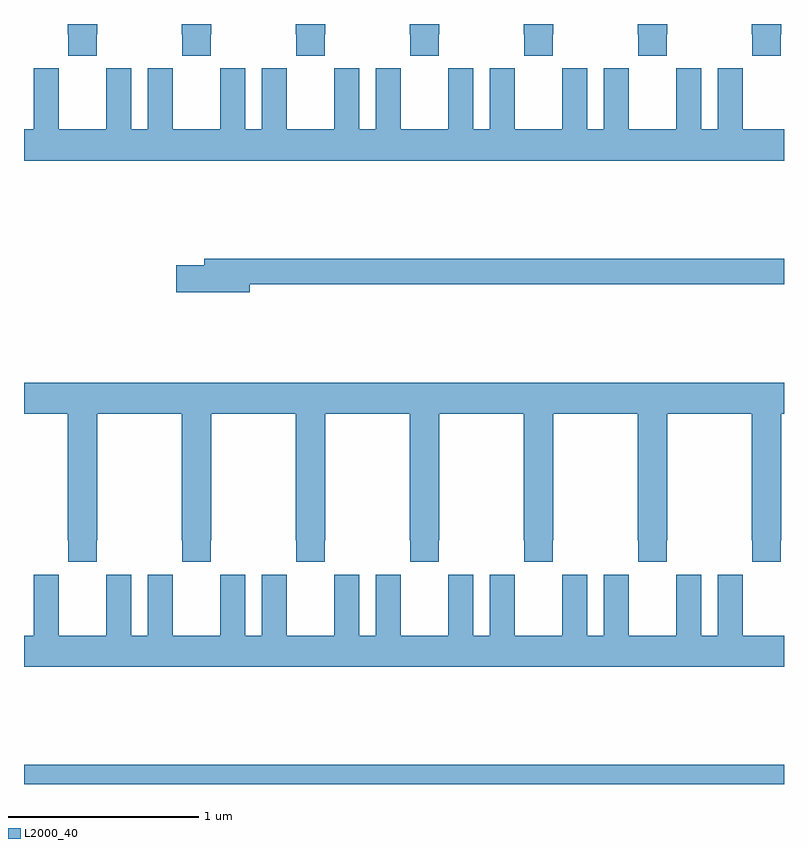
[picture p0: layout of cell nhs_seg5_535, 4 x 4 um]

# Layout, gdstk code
import gdstk
lib = gdstk.Library(unit=1e-6, precision=1e-09)
def R(c, l, rs):  # rectangles x0, y0, x1, y1
    for r in rs: c.add(gdstk.rectangle(r[:2], r[2:], *l))
def P(c, l, *ps):  # polygons
    for p in ps: c.add(gdstk.Polygon(p, *l))
L2000_40 = (2000, 40)

nhs_seg5_535 = lib.new_cell('nhs_seg5_535')
R(nhs_seg5_535, L2000_40, [(145,866.799,149,866.9)])
P(nhs_seg5_535, L2000_40, [(148.383,870.745),(148.386,870.745),(148.386,870.799),(148.231,870.799),(148.231,870.745),(148.233,870.745),(148.233,870.633),(148.383,870.633)],
  [(148.983,870.745),(148.986,870.745),(148.986,870.799),(148.831,870.799),(148.831,870.745),(148.833,870.745),(148.833,870.633),(148.983,870.633)],
  [(145.383,870.745),(145.386,870.745),(145.386,870.799),(145.231,870.799),(145.231,870.745),(145.233,870.745),(145.233,870.633),(145.383,870.633)],
  [(145.983,870.745),(145.986,870.745),(145.986,870.799),(145.831,870.799),(145.831,870.745),(145.833,870.745),(145.833,870.633),(145.983,870.633)],
  [(146.583,870.745),(146.586,870.745),(146.586,870.799),(146.431,870.799),(146.431,870.745),(146.433,870.745),(146.433,870.633),(146.583,870.633)],
  [(147.183,870.745),(147.186,870.745),(147.186,870.799),(147.031,870.799),(147.031,870.745),(147.033,870.745),(147.033,870.633),(147.183,870.633)],
  [(147.783,870.745),(147.786,870.745),(147.786,870.799),(147.631,870.799),(147.631,870.745),(147.633,870.745),(147.633,870.633),(147.783,870.633)],
  [(149,870.244),(148.783,870.244),(148.783,870.452),(148.782,870.452),(148.782,870.565),(148.652,870.565),(148.652,870.244),(148.564,870.244),(148.564,870.565),(148.434,870.565),(148.434,870.452),(148.433,870.452),(148.433,870.244),(148.183,870.244),(148.183,870.452),(148.182,870.452),(148.182,870.565),(148.052,870.565),(148.052,870.244),(147.964,870.244),(147.964,870.565),(147.834,870.565),(147.834,870.452),(147.833,870.452),(147.833,870.244),(147.583,870.244),(147.583,870.452),(147.582,870.452),(147.582,870.565),(147.452,870.565),(147.452,870.244),(147.364,870.244),(147.364,870.565),(147.234,870.565),(147.234,870.452),(147.233,870.452),(147.233,870.244),(146.983,870.244),(146.983,870.452),(146.982,870.452),(146.982,870.565),(146.852,870.565),(146.852,870.244),(146.764,870.244),(146.764,870.565),(146.634,870.565),(146.634,870.452),(146.633,870.452),(146.633,870.244),(146.383,870.244),(146.383,870.452),(146.382,870.452),(146.382,870.565),(146.252,870.565),(146.252,870.244),(146.164,870.244),(146.164,870.565),(146.034,870.565),(146.034,870.452),(146.033,870.452),(146.033,870.244),(145.783,870.244),(145.783,870.452),(145.782,870.452),(145.782,870.565),(145.652,870.565),(145.652,870.244),(145.564,870.244),(145.564,870.565),(145.434,870.565),(145.434,870.452),(145.433,870.452),(145.433,870.244),(145.183,870.244),(145.183,870.452),(145.182,870.452),(145.182,870.565),(145.052,870.565),(145.052,870.244),(145,870.244),(145,870.08),(149,870.08)],
  [(146.188,869.428),(149,869.428),(149,869.564),(145.949,869.564),(145.949,869.528),(145.8,869.528),(145.8,869.386),(146.188,869.386)],
  [(145.383,868.081),(145.386,868.081),(145.386,868.748),(145.831,868.748),(145.831,868.081),(145.833,868.081),(145.833,867.969),(145.983,867.969),(145.983,868.081),(145.986,868.081),(145.986,868.748),(146.431,868.748),(146.431,868.081),(146.433,868.081),(146.433,867.969),(146.583,867.969),(146.583,868.081),(146.586,868.081),(146.586,868.748),(147.031,868.748),(147.031,868.081),(147.033,868.081),(147.033,867.969),(147.183,867.969),(147.183,868.081),(147.186,868.081),(147.186,868.748),(147.631,868.748),(147.631,868.081),(147.633,868.081),(147.633,867.969),(147.783,867.969),(147.783,868.081),(147.786,868.081),(147.786,868.748),(148.231,868.748),(148.231,868.081),(148.233,868.081),(148.233,867.969),(148.383,867.969),(148.383,868.081),(148.386,868.081),(148.386,868.748),(148.831,868.748),(148.831,868.081),(148.833,868.081),(148.833,867.969),(148.983,867.969),(148.983,868.081),(148.986,868.081),(148.986,868.748),(149,868.748),(149,868.912),(145,868.912),(145,868.748),(145.231,868.748),(145.231,868.081),(145.233,868.081),(145.233,867.969),(145.383,867.969)],
  [(149,867.58),(148.783,867.58),(148.783,867.788),(148.782,867.788),(148.782,867.901),(148.652,867.901),(148.652,867.58),(148.564,867.58),(148.564,867.901),(148.434,867.901),(148.434,867.788),(148.433,867.788),(148.433,867.58),(148.183,867.58),(148.183,867.788),(148.182,867.788),(148.182,867.901),(148.052,867.901),(148.052,867.58),(147.964,867.58),(147.964,867.901),(147.834,867.901),(147.834,867.788),(147.833,867.788),(147.833,867.58),(147.583,867.58),(147.583,867.788),(147.582,867.788),(147.582,867.901),(147.452,867.901),(147.452,867.58),(147.364,867.58),(147.364,867.901),(147.234,867.901),(147.234,867.788),(147.233,867.788),(147.233,867.58),(146.983,867.58),(146.983,867.788),(146.982,867.788),(146.982,867.901),(146.852,867.901),(146.852,867.58),(146.764,867.58),(146.764,867.901),(146.634,867.901),(146.634,867.788),(146.633,867.788),(146.633,867.58),(146.383,867.58),(146.383,867.788),(146.382,867.788),(146.382,867.901),(146.252,867.901),(146.252,867.58),(146.164,867.58),(146.164,867.901),(146.034,867.901),(146.034,867.788),(146.033,867.788),(146.033,867.58),(145.783,867.58),(145.783,867.788),(145.782,867.788),(145.782,867.901),(145.652,867.901),(145.652,867.58),(145.564,867.58),(145.564,867.901),(145.434,867.901),(145.434,867.788),(145.433,867.788),(145.433,867.58),(145.183,867.58),(145.183,867.788),(145.182,867.788),(145.182,867.901),(145.052,867.901),(145.052,867.58),(145,867.58),(145,867.416),(149,867.416)])

lib.write_gds('nhs_seg5_535.gds')
